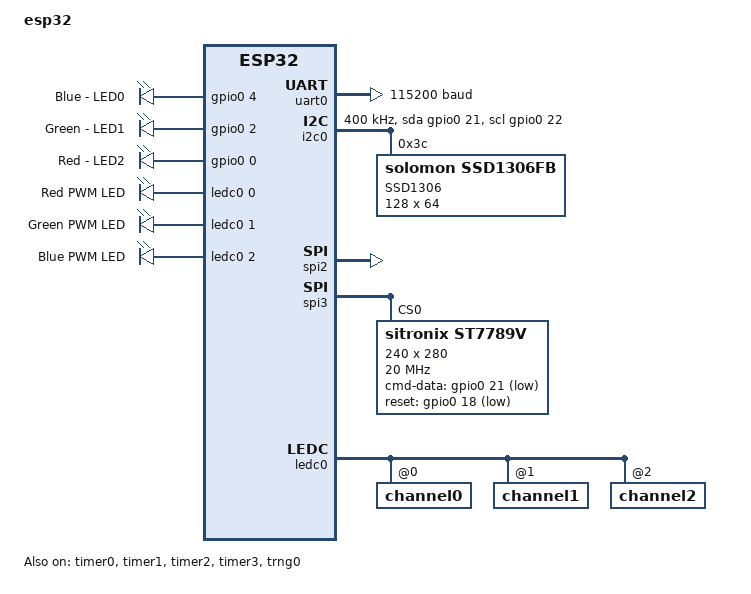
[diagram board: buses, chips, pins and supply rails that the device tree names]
/*
 * Copyright (c) 2021 Espressif Systems (Shanghai) Co., Ltd.
 *
 * SPDX-License-Identifier: Apache-2.0
 */
/dts-v1/;

#include <espressif/esp32.dtsi>
#include "esp_custom-pinctrl.dtsi"

/ {
	model = "esp32";
	compatible = "espressif,esp32";

	aliases {
		led0 = &blue_led;
		led1 = &green_led;
		led2 = &red_led;
		pwm-led0 = &pwm_led_red;
		pwm-led1 = &pwm_led_green;
		pwm-led2 = &pwm_led_blue;
		red-pwm-led = &pwm_led_red;
		green-pwm-led = &pwm_led_green;
		blue-pwm-led = &pwm_led_blue;
		uart-0 = &uart0;
		i2c-0 = &i2c0;
		watchdog0 = &wdt0;
	};

	chosen {
		zephyr,sram = &sram0;
		zephyr,console = &uart0;
		zephyr,shell-uart = &uart0;
		zephyr,flash = &flash0;
		zephyr,display = &st7789v;
		
	};

	leds {
		compatible = "gpio-leds";

		blue_led: led_0 {
			gpios =  <&gpio0 4 GPIO_ACTIVE_HIGH>;
			label = "Blue - LED0";
		};

		green_led: led_1 {
			gpios =  <&gpio0 2 GPIO_ACTIVE_HIGH>;
			label = "Green - LED1";
		};

		red_led: led_2 {
			gpios =  <&gpio0 0 GPIO_ACTIVE_HIGH>;
			label = "Red - LED2";
		};
	};
	pwmleds {
		compatible = "pwm-leds";
		pwm_led_red: pwm_led_0 {
			label = "Red PWM LED";
			pwms = <&ledc0 0 PWM_HZ(100) PWM_POLARITY_NORMAL>;
		};
		pwm_led_green: pwm_led_1 {
			label = "Green PWM LED";
			pwms = <&ledc0 1 PWM_HZ(100) PWM_POLARITY_NORMAL>;
		};
		pwm_led_blue: pwm_led_2 {
			label = "Blue PWM LED";
			pwms = <&ledc0 2 PWM_HZ(100) PWM_POLARITY_NORMAL>;
		};
	};
};

&cpu0 {
	clock-frequency = <ESP32_CLK_CPU_240M>;
};

&cpu1 {
	clock-frequency = <ESP32_CLK_CPU_240M>;
};

&uart0 {
	status = "okay";
	current-speed = <115200>;
	pinctrl-0 = <&uart0_default>;
	pinctrl-names = "default";
};

&gpio0 {
	status = "okay";
};

&gpio1 {
	status = "okay";
};

&i2c0 {
	status = "okay";
	clock-frequency = <I2C_BITRATE_FAST>;
	sda-gpios = <&gpio0 21 (GPIO_OPEN_DRAIN  )>;
	scl-gpios = <&gpio0 22 (GPIO_OPEN_DRAIN  )>;
	pinctrl-0 = <&i2c0_default>;
	pinctrl-names = "default";
	ssd1306: ssd1306@3c {
		compatible = "solomon,ssd1306fb";
		reg = < 0x3c >;
		label = "SSD1306";
		width = < 128 >;
		height = < 64 >;
		segment-offset = < 0x0 >;
		page-offset = < 0x0 >;
		display-offset = < 0x0 >;
		multiplex-ratio = < 0x3f >;
		segment-remap;
		com-invdir;
		prechargep = < 0x22 >;
	};	
};

&spi2 {
	#address-cells = <1>;
	#size-cells = <0>;
	status = "okay";
	pinctrl-0 = <&spim2_default>;
	pinctrl-names = "default";
};

&spi3 {
	#address-cells = <1>;
	#size-cells = <0>;
	status = "okay";
	pinctrl-0 = <&spim3_default>;
	pinctrl-names = "default";
	//cs-gpios = <&gpio0 16 GPIO_ACTIVE_LOW>;	/* D10 */
	st7789v: st7789v@0 {
		compatible = "sitronix,st7789v";
		spi-max-frequency = <20000000>;
		reg = <0>;
		cmd-data-gpios = <&gpio0 21 GPIO_ACTIVE_LOW>;
		reset-gpios = <&gpio0 18 GPIO_ACTIVE_LOW>;
		width = <240>;
		height = <280>;
		//rotation = <0>;
		x-offset = <0>;
		y-offset = <20>;
		vcom = <0x19>;
		gctrl = <0x35>;
		vrhs = <0x12>;
		vdvs = <0x20>;
		mdac = <0x00>;
		gamma = <0x01>;
		colmod = <0x05>;
		lcm = <0x2c>;
		porch-param = [0c 0c 00 33 33];
		cmd2en-param = [5a 69 02 01];
		pwctrl1-param = [a4 a1];
		pvgam-param = [D0 04 0D 11 13 2B 3F 54 4C 18 0D 0B 1F 23];
		nvgam-param = [D0 04 0C 11 13 2C 3F 44 51 2F 1F 1F 20 23];
		ram-param = [00 F0];
		rgb-param = [CD 08 14];
	};
};


&ledc0 {
	pinctrl-0 = <&ledc0_default>;
	pinctrl-names = "default";
	status = "okay";
	#address-cells = <1>;
	#size-cells = <0>;
	channel0@0 {
		reg = <0x0>;
		timer = <0>;
	};
	channel1@1 {
		reg = <0x1>;
		timer = <1>;
	};
	channel2@2 {
		reg = <0x2>;
		timer = <2>;
	};
};

&timer0 {
	status = "okay";
};

&timer1 {
	status = "okay";
};

&timer2 {
	status = "okay";
};

&timer3 {
	status = "okay";
};

&trng0 {
	status = "okay";
};

&flash0 {
	status = "okay";
	partitions {
		compatible = "fixed-partitions";
		#address-cells = <1>;
		#size-cells = <1>;

		/* Reserve 60kB for the bootloader */
		boot_partition: partition@1000 {
			label = "mcuboot";
			reg = <0x00001000 0x0000F000>;
			read-only;
		};

		/* Reserve 1024kB for the application in slot 0 */
		slot0_partition: partition@10000 {
			label = "image-0";
			reg = <0x00010000 0x00100000>;
		};

		/* Reserve 1024kB for the application in slot 1 */
		slot1_partition: partition@110000 {
			label = "image-1";
			reg = <0x00110000 0x00100000>;
		};

		/* Reserve 256kB for the scratch partition */
		scratch_partition: partition@210000 {
			   label = "image-scratch";
			   reg = <0x00210000 0x00040000>;
		};

		storage_partition: partition@250000 {
			label = "storage";
			reg = <0x00250000 0x00006000>;
		};
	};
};

